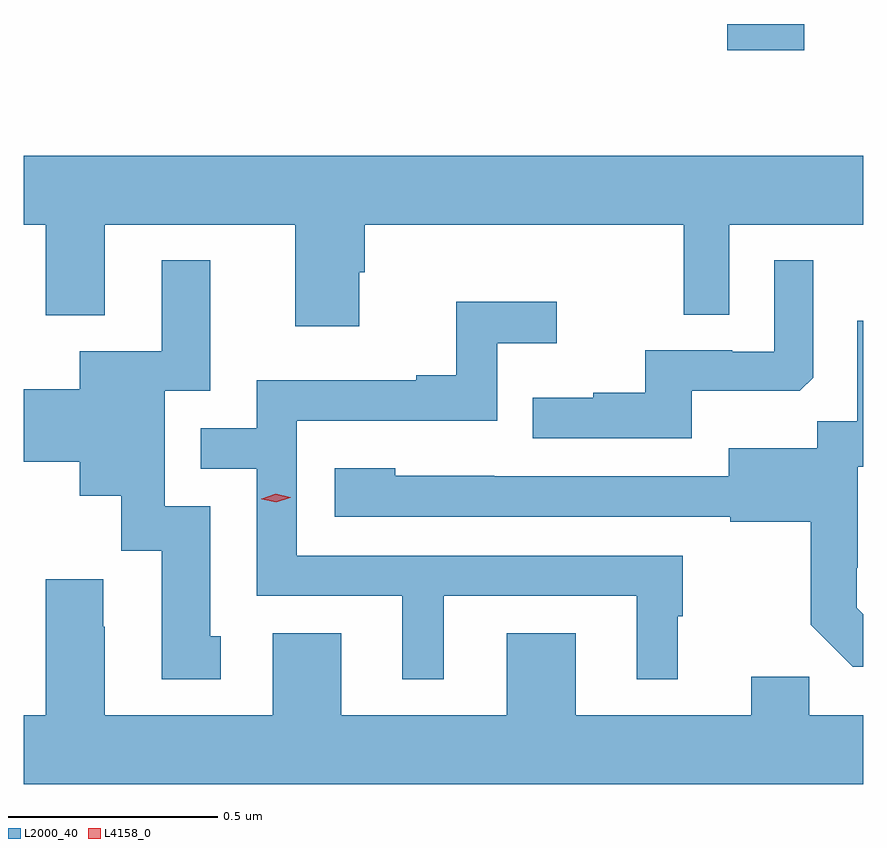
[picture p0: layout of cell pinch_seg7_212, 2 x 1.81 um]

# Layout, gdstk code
import gdstk
lib = gdstk.Library(unit=1e-6, precision=1e-09)
def R(c, l, rs):  # rectangles x0, y0, x1, y1
    for r in rs: c.add(gdstk.rectangle(r[:2], r[2:], *l))
def P(c, l, *ps):  # polygons
    for p in ps: c.add(gdstk.Polygon(p, *l))
L2000_40 = (2000, 40)
L4158_0 = (4158, 0)

pinch_seg7_212 = lib.new_cell('pinch_seg7_212')
R(pinch_seg7_212, L2000_40, [(722.774,1030.335,722.957,1030.398)])
P(pinch_seg7_212, L2000_40, [(721.897,1029.807),(721.91,1029.807),(721.91,1029.92),(722.67,1029.92),(722.67,1029.706),(722.778,1029.706),(722.778,1029.92),(723.098,1029.92),(723.098,1030.084),(721.098,1030.084),(721.098,1029.92),(721.151,1029.92),(721.151,1029.704),(721.291,1029.704),(721.291,1029.92),(721.745,1029.92),(721.745,1029.678),(721.897,1029.678)],
  [(721.567,1028.94),(721.543,1028.94),(721.543,1029.249),(721.434,1029.249),(721.434,1029.525),(721.543,1029.525),(721.543,1029.835),(721.427,1029.835),(721.427,1029.619),(721.232,1029.619),(721.232,1029.528),(721.098,1029.528),(721.098,1029.356),(721.232,1029.356),(721.232,1029.275),(721.331,1029.275),(721.331,1029.144),(721.427,1029.144),(721.427,1028.838),(721.567,1028.838)],
  [(722.689,1029.524),(722.947,1029.524),(722.979,1029.555),(722.979,1029.835),(722.886,1029.835),(722.886,1029.618),(722.786,1029.618),(722.786,1029.621),(722.579,1029.621),(722.579,1029.52),(722.455,1029.52),(722.455,1029.508),(722.311,1029.508),(722.311,1029.411),(722.689,1029.411)],
  [(722.098,1029.036),(722.558,1029.036),(722.558,1028.837),(722.656,1028.837),(722.656,1028.988),(722.668,1028.988),(722.668,1029.132),(721.749,1029.132),(721.749,1029.453),(722.226,1029.453),(722.226,1029.638),(722.368,1029.638),(722.368,1029.737),(722.128,1029.737),(722.128,1029.562),(722.033,1029.562),(722.033,1029.549),(721.653,1029.549),(721.653,1029.435),(721.52,1029.435),(721.52,1029.339),(721.653,1029.339),(721.653,1029.036),(722,1029.036),(722,1028.837),(722.098,1028.837)],
  [(723.098,1028.992),(723.082,1029.008),(723.082,1029.103),(723.084,1029.103),(723.084,1029.344),(723.098,1029.344),(723.098,1029.691),(723.083,1029.691),(723.083,1029.452),(722.988,1029.452),(722.988,1029.388),(722.777,1029.388),(722.777,1029.321),(722.219,1029.321),(722.219,1029.322),(721.983,1029.322),(721.983,1029.34),(721.839,1029.34),(721.839,1029.225),(722.781,1029.225),(722.781,1029.213),(722.973,1029.213),(722.973,1028.967),(723.073,1028.867),(723.098,1028.867)],
  [(721.288,1028.963),(721.288,1029.076),(721.151,1029.076),(721.151,1028.752),(721.098,1028.752),(721.098,1028.588),(723.098,1028.588),(723.098,1028.752),(722.969,1028.752),(722.969,1028.843),(722.831,1028.843),(722.831,1028.752),(722.413,1028.752),(722.413,1028.947),(722.249,1028.947),(722.249,1028.752),(721.855,1028.752),(721.855,1028.947),(721.691,1028.947),(721.691,1028.752),(721.291,1028.752),(721.291,1028.963)])
P(pinch_seg7_212, L4158_0, [(721.7,1029.259),(721.665,1029.266),(721.664,1029.267),(721.665,1029.267),(721.698,1029.279),(721.733,1029.271),(721.734,1029.271),(721.733,1029.27)])

lib.write_gds('pinch_seg7_212.gds')
